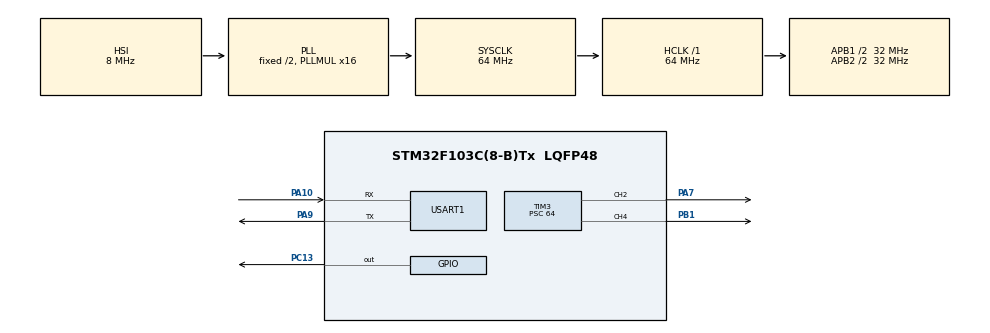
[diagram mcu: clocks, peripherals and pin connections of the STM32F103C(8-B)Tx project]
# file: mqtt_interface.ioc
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Mcu.Family=STM32F1
PA10.Mode=Asynchronous
TIM3.AutoReloadPreload=TIM_AUTORELOAD_PRELOAD_ENABLE
Dma.TIM3_CH4/UP.0.Mode=DMA_CIRCULAR
PC13-TAMPER-RTC.Signal=GPIO_Output
RCC.APB1CLKDivider=RCC_HCLK_DIV2
TIM3.Channel-PWM\ Generation4\ CH4=TIM_CHANNEL_4
RCC.SYSCLKSource=RCC_SYSCLKSOURCE_PLLCLK
ProjectManager.StackSize=0x400
NVIC.DMA1_Channel3_IRQn=true\:0\:0\:false\:false\:true\:false\:true
PA13.Signal=SYS_JTMS-SWDIO
PA9.Mode=Asynchronous
ProjectManager.TargetToolchain=TrueSTUDIO
RCC.HCLKFreq_Value=64000000
RCC.APB2TimFreq_Value=64000000
TIM3.Period=1000
PA9.Signal=USART1_TX
Dma.TIM3_CH4/UP.0.Instance=DMA1_Channel3
RCC.USBFreq_Value=64000000
RCC.AHBFreq_Value=64000000
SH.S_TIM3_CH2.0=TIM3_CH2,PWM Generation2 CH2
board=custom
RCC.PLLMUL=RCC_PLL_MUL16
NVIC.TIM3_IRQn=true\:0\:0\:false\:false\:true\:true\:true
RCC.APB2Freq_Value=32000000
PA14.Mode=Serial_Wire
TIM3.Prescaler=64
Dma.TIM3_CH4/UP.0.MemInc=DMA_MINC_ENABLE
PA13.Mode=Serial_Wire
Mcu.Name=STM32F103C(8-B)Tx
RCC.SYSCLKFreq_VALUE=64000000
Mcu.Package=LQFP48
PB1.Signal=S_TIM3_CH4
Dma.TIM3_CH4/UP.0.Priority=DMA_PRIORITY_LOW
USART1.VirtualMode=VM_ASYNC
PA10.Signal=USART1_RX
PA14.Signal=SYS_JTCK-SWCLK
ProjectManager.HeapSize=0x200
Dma.TIM3_CH4/UP.0.Direction=DMA_MEMORY_TO_PERIPH
Dma.TIM3_CH4/UP.0.MemDataAlignment=DMA_MDATAALIGN_HALFWORD
NVIC.PriorityGroup=NVIC_PRIORITYGROUP_4
RCC.APB2CLKDivider=RCC_HCLK_DIV2
TIM3.Channel-PWM\ Generation2\ CH2=TIM_CHANNEL_2
RCC.APB1TimFreq_Value=64000000
TIM3.Pulse-PWM\ Generation2\ CH2=1000
NVIC.USART1_IRQn=true\:0\:0\:false\:false\:true\:true\:true
Dma.Request0=TIM3_CH4/UP
RCC.APB1Freq_Value=32000000
Dma.TIM3_CH4/UP.0.PeriphInc=DMA_PINC_DISABLE
Dma.TIM3_CH4/UP.0.PeriphDataAlignment=DMA_PDATAALIGN_HALFWORD
SH.S_TIM3_CH4.0=TIM3_CH4,PWM Generation4 CH4
PA7.Signal=S_TIM3_CH2

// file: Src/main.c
/* USER CODE BEGIN Header */
/**
  ******************************************************************************
  * @file           : main.c
  * @brief          : Main program body
  ******************************************************************************
  * @attention
  *
  * <h2><center>&copy; Copyright (c) 2019 STMicroelectronics.
  * All rights reserved.</center></h2>
  *
  * This software component is licensed by ST under BSD 3-Clause license,
  * the "License"; You may not use this file except in compliance with the
  * License. You may obtain a copy of the License at:
  *                        opensource.org/licenses/BSD-3-Clause
  *
  ******************************************************************************
  */
/* USER CODE END Header */

#include "main.h"

/* USER CODE BEGIN Includes */
#include <stdint.h>
#include <stdio.h>
#include "ws2812b.h"
#include "cuart.h"
/* USER CODE END Includes */

/* USER CODE BEGIN PM */

 void HAL_TIM_PWM_PulseFinishedHalfCpltCallback(TIM_HandleTypeDef *htim)
{
}

void HAL_TIM_PWM_PulseFinishedCallback(TIM_HandleTypeDef *htim)
{
	//HAL_TIM_PWM_Stop_DMA(&htim3, TIM_CHANNEL_4);
	// if (htim->Instance ==TIM3 ){
		// pwm_list.pwm_table = 0;
	// }
}
void HAL_TIM_PeriodElapsedCallback(TIM_HandleTypeDef *htim)
{
}

// GPIOC->ODR ^=GPIO_PIN_13;

/* USER CODE END PM */

TIM_HandleTypeDef htim3;
DMA_HandleTypeDef hdma_tim3_ch4_up;

UART_HandleTypeDef huart1;

void SystemClock_Config(void);
static void MX_GPIO_Init(void);
static void MX_DMA_Init(void);
static void MX_TIM3_Init(void);
static void MX_USART1_UART_Init(void);

int main(void)
{
  /* USER CODE BEGIN 1 */
	setvbuf(stdout,0, _IOLBF, 0);

  /* USER CODE END 1 */

  /* MCU Configuration--------------------------------------------------------*/

  /* Reset of all peripherals, Initializes the Flash interface and the Systick. */
  HAL_Init();

  /* Configure the system clock */
  SystemClock_Config();

  /* Initialize all configured peripherals */
  MX_GPIO_Init();
  MX_DMA_Init();
  MX_TIM3_Init();
  MX_USART1_UART_Init();
  /* USER CODE BEGIN 2 */
	uint32_t seconds = HAL_GetTick();
	printf("Program stars!!\r\n" );
	//printf("PWM table size[%d] !!\r\n",sizeof(pwm_value)/2 );

	dbg_setup();
	start_led_sequence();
	dbg_register_task(parse_led_color_input, "set", 'p');
	dbg_register_task(stop_led_sequence, "stop",0);
	dbg_register_task(start_led_sequence, "start",0);

	uint8_t switch_colors = 0;
	uint8_t led_id[9]= {0};
	uint8_t index = 0;
	for(index = 0;index< 9;index++) {
		led_id[index] = index;
	}
  /* USER CODE END 2 */

  /* Infinite loop */
  while (1)
  {

    /* USER CODE BEGIN 3 */

	dbg_command_scan();
	if ( HAL_GetTick() >seconds){
		seconds = HAL_GetTick() + 600;
		GPIOC->ODR ^=GPIO_PIN_13;
#if 0
#if 1
		stop_led_sequence();
		// if (switch_colors > 8){
			// switch_colors = 0;
		// }else{
			// switch_colors++;
		// }
		for(index = 0;index< 9;index++) {
			led_id[index] = led_id[index] +1;
			if (led_id[index]>8)led_id[index]=0;
		}
		if (switch_colors == 1){
			switch_colors =0;
#if 0
			set_color(0x0,led_id[0]);
			set_color(0x0,led_id[1]);
			set_color(0x0,led_id[2]);
			set_color(0x0,led_id[3]);
			set_color(0x0,led_id[4]);
			set_color(0x0,led_id[5]);
			set_color(0x0,led_id[6]);
			set_color(0x0,led_id[7]);
			set_color(0x0,led_id[8]);
#endif
			parse_led_color_input("0 000000",0);
			parse_led_color_input("1 000000",0);
			parse_led_color_input("2 000000",0);
			parse_led_color_input("3 000000",0);
			parse_led_color_input("4 000000",0);
			parse_led_color_input("5 000000",0);
			parse_led_color_input("6 000000",0);
			parse_led_color_input("7 000000",0);
			parse_led_color_input("8 000000",0);
		}else{
			switch_colors =1;
			parse_led_color_input("0 000007",0);
			parse_led_color_input("1 000700",0);
			parse_led_color_input("2 070000",0);
			parse_led_color_input("3 030107",0);
			parse_led_color_input("4 000000",0);
			parse_led_color_input("5 000000",0);
			parse_led_color_input("6 000000",0);
			parse_led_color_input("7 000000",0);
			parse_led_color_input("8 000000",0);

#if 0
			set_color(0x000007,led_id[0]);
			set_color(0x000700,led_id[1]);
			set_color(0x070000,led_id[2]);
			set_color(0x070007,led_id[3]);
			set_color(0x0,led_id[4]);
			set_color(0x0,led_id[5]);
			set_color(0x0,led_id[6]);
			set_color(0x0,led_id[7]);
			set_color(0x0,led_id[8]);
#endif
			// set_color(0x070000,led_id[2]);
			// set_color(0x070007,led_id[3]);
			// set_color(0x000707,led_id[4]);
			// set_color(0x070700,led_id[5]);
			// set_color(0x070707,led_id[6]);
			// set_color(0x010000,led_id[7]);
			// set_color(0x000100,led_id[8]);
		}
		start_led_sequence();
#endif
#endif
	}
  }
  /* USER CODE END 3 */
}

void SystemClock_Config(void)
{
  RCC_OscInitTypeDef RCC_OscInitStruct = {0};
  RCC_ClkInitTypeDef RCC_ClkInitStruct = {0};

  /** Initializes the CPU, AHB and APB busses clocks
  */
  RCC_OscInitStruct.OscillatorType = RCC_OSCILLATORTYPE_HSI;
  RCC_OscInitStruct.HSIState = RCC_HSI_ON;
  RCC_OscInitStruct.HSICalibrationValue = RCC_HSICALIBRATION_DEFAULT;
  RCC_OscInitStruct.PLL.PLLState = RCC_PLL_ON;
  RCC_OscInitStruct.PLL.PLLSource = RCC_PLLSOURCE_HSI_DIV2;
  RCC_OscInitStruct.PLL.PLLMUL = RCC_PLL_MUL16;
  if (HAL_RCC_OscConfig(&RCC_OscInitStruct) != HAL_OK)
  {
    Error_Handler();
  }
  /** Initializes the CPU, AHB and APB busses clocks
  */
  RCC_ClkInitStruct.ClockType = RCC_CLOCKTYPE_HCLK|RCC_CLOCKTYPE_SYSCLK
                              |RCC_CLOCKTYPE_PCLK1|RCC_CLOCKTYPE_PCLK2;
  RCC_ClkInitStruct.SYSCLKSource = RCC_SYSCLKSOURCE_PLLCLK;
  RCC_ClkInitStruct.AHBCLKDivider = RCC_SYSCLK_DIV1;
  RCC_ClkInitStruct.APB1CLKDivider = RCC_HCLK_DIV2;
  RCC_ClkInitStruct.APB2CLKDivider = RCC_HCLK_DIV2;

  if (HAL_RCC_ClockConfig(&RCC_ClkInitStruct, FLASH_LATENCY_2) != HAL_OK)
  {
    Error_Handler();
  }
}

static void MX_TIM3_Init(void)
{

  TIM_MasterConfigTypeDef sMasterConfig = {0};
  TIM_OC_InitTypeDef sConfigOC = {0};

  htim3.Instance = TIM3;
  htim3.Init.Prescaler = TIMER_PRESCALER;
  htim3.Init.CounterMode = TIM_COUNTERMODE_UP;
  htim3.Init.Period = TIMER_PERIOD;
  htim3.Init.ClockDivision = TIM_CLOCKDIVISION_DIV1;
  htim3.Init.AutoReloadPreload = TIM_AUTORELOAD_PRELOAD_ENABLE;
  if (HAL_TIM_PWM_Init(&htim3) != HAL_OK)
  {
    Error_Handler();
  }
  sMasterConfig.MasterOutputTrigger = TIM_TRGO_RESET;
  sMasterConfig.MasterSlaveMode = TIM_MASTERSLAVEMODE_DISABLE;
  if (HAL_TIMEx_MasterConfigSynchronization(&htim3, &sMasterConfig) != HAL_OK)
  {
    Error_Handler();
  }
  sConfigOC.OCMode = TIM_OCMODE_PWM1;
  sConfigOC.Pulse = 0;
  sConfigOC.OCPolarity   = TIM_OCPOLARITY_HIGH;
  sConfigOC.OCFastMode   = TIM_OCFAST_ENABLE;
  sConfigOC.OCIdleState  = TIM_OCIDLESTATE_SET;
  sConfigOC.OCNIdleState = TIM_OCNIDLESTATE_RESET;

  if (HAL_TIM_PWM_ConfigChannel(&htim3, &sConfigOC, TIM_CHANNEL_2) != HAL_OK)
  {
    Error_Handler();
  }
  sConfigOC.Pulse = 0;
  if (HAL_TIM_PWM_ConfigChannel(&htim3, &sConfigOC, TIM_CHANNEL_4) != HAL_OK)
  {
    Error_Handler();
  }
  HAL_TIM_MspPostInit(&htim3);

}

static void MX_USART1_UART_Init(void)
{

  huart1.Instance = USART1;
  huart1.Init.BaudRate = 115200;
  huart1.Init.WordLength = UART_WORDLENGTH_8B;
  huart1.Init.StopBits = UART_STOPBITS_1;
  huart1.Init.Parity = UART_PARITY_NONE;
  huart1.Init.Mode = UART_MODE_TX_RX;
  huart1.Init.HwFlowCtl = UART_HWCONTROL_NONE;
  huart1.Init.OverSampling = UART_OVERSAMPLING_16;
  if (HAL_UART_Init(&huart1) != HAL_OK)
  {
    Error_Handler();
  }

}

static void MX_DMA_Init(void)
{

  /* DMA controller clock enable */
  __HAL_RCC_DMA1_CLK_ENABLE();

  /* DMA interrupt init */
  /* DMA1_Channel3_IRQn interrupt configuration */
  HAL_NVIC_SetPriority(DMA1_Channel3_IRQn, 0, 0);
  HAL_NVIC_EnableIRQ(DMA1_Channel3_IRQn);

}

static void MX_GPIO_Init(void)
{
  GPIO_InitTypeDef GPIO_InitStruct = {0};

  /* GPIO Ports Clock Enable */
  __HAL_RCC_GPIOC_CLK_ENABLE();
  __HAL_RCC_GPIOA_CLK_ENABLE();
  __HAL_RCC_GPIOB_CLK_ENABLE();

  /*Configure GPIO pin Output Level */
  HAL_GPIO_WritePin(GPIOC, GPIO_PIN_13, GPIO_PIN_RESET);

  /*Configure GPIO pin : PC13 */
  GPIO_InitStruct.Pin = GPIO_PIN_13;
  GPIO_InitStruct.Mode = GPIO_MODE_OUTPUT_PP;
  GPIO_InitStruct.Pull = GPIO_NOPULL;
  GPIO_InitStruct.Speed = GPIO_SPEED_FREQ_LOW;
  HAL_GPIO_Init(GPIOC, &GPIO_InitStruct);

}

void Error_Handler(void)
{
}

/************************ (C) COPYRIGHT STMicroelectronics *****END OF FILE****/
